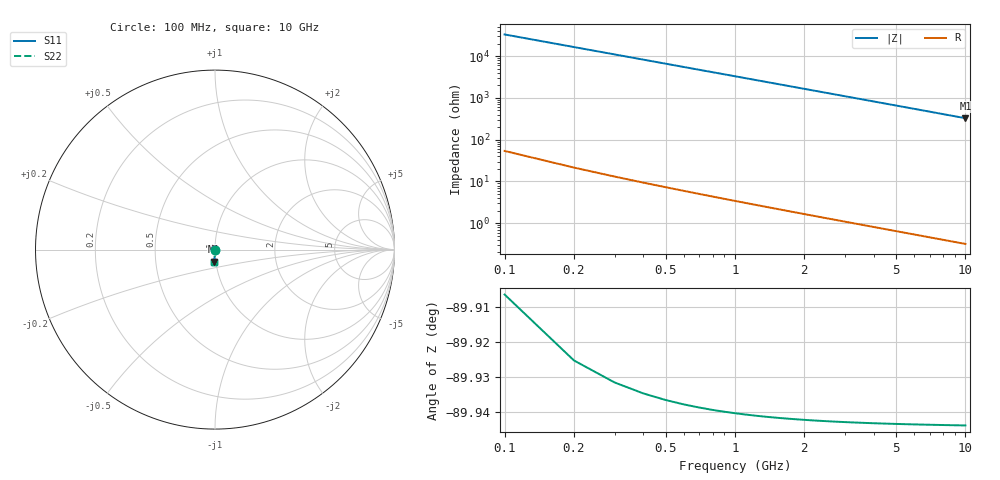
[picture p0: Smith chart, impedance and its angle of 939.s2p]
# Hz S RI R 50.00
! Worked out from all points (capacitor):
!   100 points, 100 MHz to 10 GHz, reference 50 ohm
!   read as one part in shunt: C = 48.4 fF near 100 MHz
!   lowest |Z| = 326 ohm at 10 GHz (marker M1)
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1e8  5.13e-05 -0.000662  0.9999 -0.000858  0.9999 -0.000858  5.13e-05 -0.000662
2e8  4.92e-05 -0.00132  0.9999 -0.00172  0.9999 -0.00172  4.92e-05 -0.00132
3e8  4.59e-05 -0.00199  0.9999 -0.00257  0.9999 -0.00257  4.59e-05 -0.00199
4e8  4.14e-05 -0.00265  0.9999 -0.00343  0.9999 -0.00343  4.14e-05 -0.00265
5e8  3.57e-05 -0.00331  0.9999 -0.00429  0.9999 -0.00429  3.57e-05 -0.00331
6e8  2.89e-05 -0.00397  0.9999 -0.00515  0.9999 -0.00515  2.89e-05 -0.00397
7e8  2.09e-05 -0.00463  0.9999 -0.00601  0.9999 -0.00601  2.09e-05 -0.00463
8e8  1.18e-05 -0.00529  0.9999 -0.00686  0.9999 -0.00686  1.18e-05 -0.00529
9e8  1.52e-06 -0.00596  0.9999 -0.00772  0.9999 -0.00772  1.52e-06 -0.00596
1.1e9  -2.24e-05 -0.00728  0.9999 -0.00944  0.9999 -0.00944  -2.24e-05 -0.00728
1.4e9  -6.7e-05 -0.00927  0.9998 -0.012  0.9998 -0.012  -6.7e-05 -0.00927
1.8e9  -0.000142 -0.0119  0.9997 -0.0155  0.9997 -0.0155  -0.000142 -0.0119
2.1e9  -0.000211 -0.0139  0.9997 -0.018  0.9997 -0.018  -0.000211 -0.0139
2.5e9  -0.000318 -0.0166  0.9996 -0.0215  0.9996 -0.0215  -0.000318 -0.0166
2.9e9  -0.000444 -0.0192  0.9994 -0.0249  0.9994 -0.0249  -0.000444 -0.0192
3.4e9  -0.000627 -0.0225  0.9992 -0.0292  0.9992 -0.0292  -0.000627 -0.0225
4.2e9  -0.00098 -0.0278  0.9989 -0.0361  0.9989 -0.0361  -0.00098 -0.0278
5.1e9  -0.00146 -0.0338  0.9984 -0.0438  0.9984 -0.0438  -0.00146 -0.0338
5.9e9  -0.00197 -0.0391  0.9978 -0.0507  0.9978 -0.0507  -0.00197 -0.0391
6.7e9  -0.00256 -0.0444  0.9972 -0.0576  0.9972 -0.0576  -0.00256 -0.0444
8.4e9  -0.00405 -0.0557  0.9957 -0.0723  0.9957 -0.0723  -0.00405 -0.0557
1e10  -0.00576 -0.0663  0.9939 -0.0861  0.9939 -0.0861  -0.00576 -0.0663
